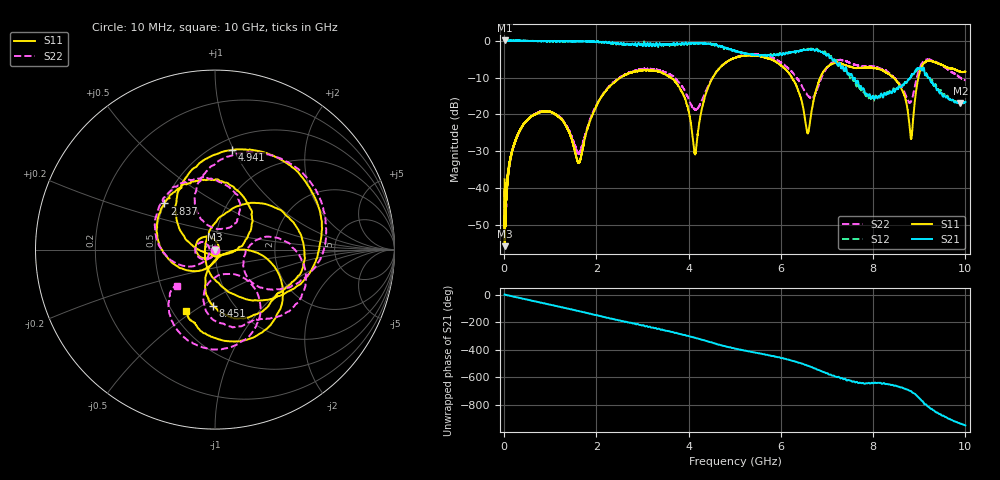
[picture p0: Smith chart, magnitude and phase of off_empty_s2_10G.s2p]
!Agilent Technologies,E8362C,MY43020457,A.09.42.15
!Agilent E8362C: A.09.42.15
!Date: Friday, March 13, 2026 14:46:50
!Correction: S11(Full 2 Port(1,2))
!S21(Full 2 Port(1,2))
!S12(Full 2 Port(1,2))
!S22(Full 2 Port(1,2))
!S2P File: Measurements: S11, S21, S12, S22:
# Hz S  dB  R 50
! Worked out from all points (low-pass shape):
!   20001 points, 10 MHz to 10 GHz, reference 50 ohm
!   highest |S21| = 0.04 dB at 10 MHz (marker M1); lowest = -17.0 dB at 9.893 GHz (marker M2)
!   |S21| within 3 dB of the highest: start of sweep to 5.025 GHz; 6.396 GHz to 6.856 GHz (460.6 MHz wide, 6.95 % of centre)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
!   lowest |S11| = -55.7 dB at 12.5 MHz (marker M3), VSWR 1.00, Z = 50.1 - j0.101 ohm
!   |S11| at or under -10 dB: start of sweep to 2.527 GHz; 3.61 GHz to 4.524 GHz (913.8 MHz wide, 22.5 % of centre); 6.237 GHz to 6.856 GHz (619.5 MHz wide, 9.46 % of centre)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
!   |S22| runs from -53.9 to -3.7 dB; largest |S21 - S12| = 0.059
!   S11 on the Smith chart (normalised r, x): 10 MHz: 1.00, -0.03; 2.837 GHz: 0.50, +0.30; 4.941 GHz: 0.61, +0.99; 8.451 GHz: 0.80, -0.56; 10 GHz: 0.58, -0.46
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1e7  -37.56 -93.5  0.04 -0.3  -0.03 -0.6  -45.47 -115.8
1.24975e7  -55.66 -37.6  -0.04 -0.9  0.01 -1.0  -53.48 -88.9
1.953145e8  -28.90 -110.8  -0.04 -14.6  -0.04 -14.7  -29.07 -107.6
5.859235e8  -20.57 -156.6  -0.09 -43.6  -0.11 -43.4  -20.57 -148.0
1.675333e9  -30.87 -43.9  -0.17 -125.0  -0.20 -124.7  -29.03 -151.7
2.098909e9  -15.43 -134.7  -0.40 -158.0  -0.42 -159.0  -15.29 -146.5
2.83717e9  -8.37 137.7  -0.84 148.1  -0.85 147.5  -8.13 142.7
3.340166e9  -8.35 83.7  -1.45 111.3  -1.60 110.5  -7.94 96.0
3.885121e9  -14.73 18.8  -0.91 66.5  -0.91 67.2  -12.92 54.6
4.139366e9  -30.85 -96.6  -0.71 45.5  -0.82 45.7  -18.66 79.3
4.444561e9  -12.04 145.7  -0.87 16.2  -0.86 16.9  -11.77 114.6
4.941064e9  -4.99 80.0  -2.57 -28.3  -2.64 -27.4  -4.99 73.0
5.005e9  -4.69 72.5  -2.78 -33.3  -2.91 -33.0  -4.64 66.9
6.076927e9  -7.49 -40.0  -3.67 -106.7  -3.71 -106.1  -6.59 -26.5
6.670333e9  -18.68 102.8  -2.53 -167.5  -2.27 -168.2  -15.43 -11.1
7.126376e9  -6.22 7.4  -5.45 132.0  -5.08 129.1  -5.83 -11.6
8.335166e9  -9.03 -84.0  -14.36 67.6  -14.29 69.7  -8.65 -95.0
8.45105e9  -10.09 -92.2  -13.53 57.6  -12.96 59.1  -9.98 -100.6
8.82068e9  -26.60 -60.7  -9.70 17.9  -9.88 16.5  -16.48 -65.4
9.104396e9  -6.07 -44.9  -7.83 -73.6  -7.81 -67.3  -5.47 -73.4
9.893107e9  -8.47 -114.5  -17.00 143.0  -17.16 140.6  -10.11 -137.6
1e10  -8.44 -115.9  -16.63 129.2  -16.70 127.7  -10.73 -136.5
